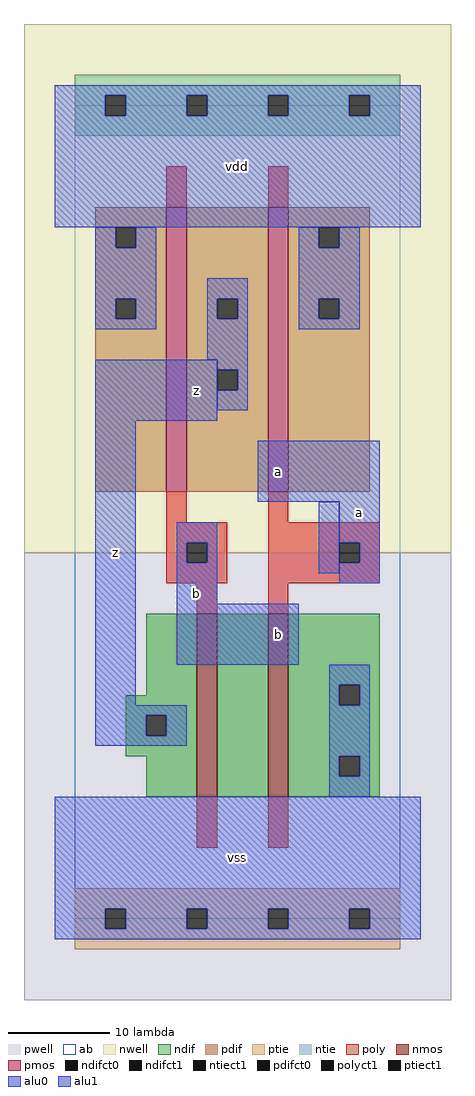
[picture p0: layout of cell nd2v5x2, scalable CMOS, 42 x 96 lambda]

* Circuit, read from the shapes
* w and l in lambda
.subckt nd2v5x2 a b vdd vss z
M1 n1 b z vss nfet w=18 l=2
M2 vss a n1 vss nfet w=18 l=2
M3 z b vdd vdd pfet w=28 l=2
M4 vdd a z vdd pfet w=28 l=2
.ends

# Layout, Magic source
magic
tech scmos
<< ab >>
rect 0 0 32 80
<< nwell >>
rect -5 36 37 88
<< pwell >>
rect -5 -8 37 36
<< poly >>
rect 9 70 11 74
rect 19 70 21 74
rect 9 39 11 42
rect 19 39 21 42
rect 9 37 15 39
rect 9 35 11 37
rect 13 35 15 37
rect 9 33 15 35
rect 19 37 30 39
rect 19 35 26 37
rect 28 35 30 37
rect 19 33 30 35
rect 12 30 14 33
rect 19 30 21 33
rect 12 7 14 12
rect 19 7 21 12
<< ndif >>
rect 7 22 12 30
rect 5 20 12 22
rect 5 18 7 20
rect 9 18 12 20
rect 5 16 12 18
rect 7 12 12 16
rect 14 12 19 30
rect 21 23 30 30
rect 21 21 26 23
rect 28 21 30 23
rect 21 16 30 21
rect 21 14 26 16
rect 28 14 30 16
rect 21 12 30 14
<< pdif >>
rect 2 68 9 70
rect 2 66 4 68
rect 6 66 9 68
rect 2 61 9 66
rect 2 59 4 61
rect 6 59 9 61
rect 2 42 9 59
rect 11 61 19 70
rect 11 59 14 61
rect 16 59 19 61
rect 11 54 19 59
rect 11 52 14 54
rect 16 52 19 54
rect 11 42 19 52
rect 21 68 29 70
rect 21 66 24 68
rect 26 66 29 68
rect 21 61 29 66
rect 21 59 24 61
rect 26 59 29 61
rect 21 42 29 59
<< alu1 >>
rect -2 81 34 82
rect -2 79 3 81
rect 5 79 11 81
rect 13 79 19 81
rect 21 79 27 81
rect 29 79 34 81
rect -2 68 34 79
rect 2 49 14 55
rect 2 21 6 49
rect 18 41 30 47
rect 10 37 14 39
rect 10 35 11 37
rect 13 35 14 37
rect 10 31 14 35
rect 26 37 30 41
rect 28 35 30 37
rect 26 33 30 35
rect 10 25 22 31
rect 2 20 11 21
rect 2 18 7 20
rect 9 18 11 20
rect 2 17 11 18
rect -2 1 34 12
rect -2 -1 3 1
rect 5 -1 11 1
rect 13 -1 19 1
rect 21 -1 27 1
rect 29 -1 34 1
rect -2 -2 34 -1
<< ptie >>
rect 0 1 32 3
rect 0 -1 3 1
rect 5 -1 11 1
rect 13 -1 19 1
rect 21 -1 27 1
rect 29 -1 32 1
rect 0 -3 32 -1
<< ntie >>
rect 0 81 32 83
rect 0 79 3 81
rect 5 79 11 81
rect 13 79 19 81
rect 21 79 27 81
rect 29 79 32 81
rect 0 77 32 79
<< nmos >>
rect 12 12 14 30
rect 19 12 21 30
<< pmos >>
rect 9 42 11 70
rect 19 42 21 70
<< polyct1 >>
rect 11 35 13 37
rect 26 35 28 37
<< ndifct0 >>
rect 26 21 28 23
rect 26 14 28 16
<< ndifct1 >>
rect 7 18 9 20
<< ntiect1 >>
rect 3 79 5 81
rect 11 79 13 81
rect 19 79 21 81
rect 27 79 29 81
<< ptiect1 >>
rect 3 -1 5 1
rect 11 -1 13 1
rect 19 -1 21 1
rect 27 -1 29 1
<< pdifct0 >>
rect 4 66 6 68
rect 4 59 6 61
rect 14 59 16 61
rect 14 52 16 54
rect 24 66 26 68
rect 24 59 26 61
<< alu0 >>
rect 2 66 4 68
rect 6 66 8 68
rect 2 61 8 66
rect 22 66 24 68
rect 26 66 28 68
rect 2 59 4 61
rect 6 59 8 61
rect 2 58 8 59
rect 13 61 17 63
rect 13 59 14 61
rect 16 59 17 61
rect 13 55 17 59
rect 22 61 28 66
rect 22 59 24 61
rect 26 59 28 61
rect 22 58 28 59
rect 14 54 17 55
rect 16 52 17 54
rect 14 50 17 52
rect 24 34 26 41
rect 25 23 29 25
rect 25 21 26 23
rect 28 21 29 23
rect 25 16 29 21
rect 25 14 26 16
rect 28 14 29 16
rect 25 12 29 14
<< labels >>
rlabel alu1 4 36 4 36 6 z
rlabel alu1 12 32 12 32 6 b
rlabel alu1 12 52 12 52 6 z
rlabel alu1 16 6 16 6 6 vss
rlabel alu1 20 28 20 28 6 b
rlabel alu1 20 44 20 44 6 a
rlabel alu1 16 74 16 74 6 vdd
rlabel alu1 28 40 28 40 6 a
<< end >>
